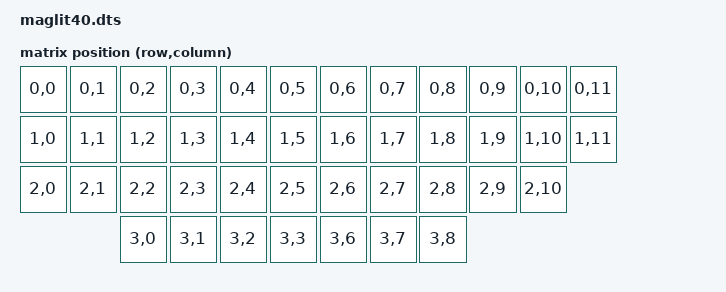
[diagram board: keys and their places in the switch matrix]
#include <dt-bindings/zmk/matrix_transform.h>
#include <dt-bindings/led/led.h>

&pinctrl {
    spi3_default: spi3_default {
        group1 {
            psels = <NRF_PSEL(SPIM_MOSI, 1, 15)>;
        };
    };

    spi3_sleep: spi3_sleep {
        group1 {
            psels = <NRF_PSEL(SPIM_MOSI, 1, 15)>;
            low-power-enable;
        };
    };
};

&spi3 {
    compatible = "nordic,nrf-spim";
    status = "okay";

    pinctrl-0 = <&spi3_default>;
    pinctrl-1 = <&spi3_sleep>;
    pinctrl-names = "default", "sleep";

    led_strip: ws2812@0 {
        compatible = "worldsemi,ws2812-spi";

        /* SPI */
        reg = <0>; /* ignored, but necessary for SPI bindings */
        spi-max-frequency = <4000000>;

        /* WS2812 */
        chain-length = <1>; /* number of LEDs */
        spi-one-frame = <0x70>;
        spi-zero-frame = <0x40>;
        color-mapping = <LED_COLOR_ID_GREEN
                         LED_COLOR_ID_RED
                         LED_COLOR_ID_BLUE>;
    };
};

/ {
  chosen {
    zmk,kscan = &kscan0;
    zmk,matrix-transform = &default_transform;
    zmk,battery = &vbatt;
    zmk,underglow = &led_strip;
  };

  default_transform: keymap_transform_0 {
    compatible = "zmk,matrix-transform";
    columns = <12>;
    rows = <4>;
    map = <
      RC(0,0) RC(0,1) RC(0,2) RC(0,3) RC(0,4) RC(0,5) RC(0,6) RC(0,7) RC(0,8) RC(0,9) RC(0,10) RC(0,11)
      RC(1,0) RC(1,1) RC(1,2) RC(1,3) RC(1,4) RC(1,5) RC(1,6) RC(1,7) RC(1,8) RC(1,9) RC(1,10) RC(1,11) 
      RC(2,0) RC(2,1) RC(2,2) RC(2,3) RC(2,4) RC(2,5) RC(2,6) RC(2,7) RC(2,8) RC(2,9) RC(2,10)  
                      RC(3,0) RC(3,1) RC(3,2) RC(3,3) RC(3,6) RC(3,7) RC(3,8) 
    >;
  };

  kscan0: kscan {
    compatible = "zmk,kscan-gpio-matrix";
    diode-direction = "col2row";
    wakeup-source;
  };

  vbatt: vbatt {
    compatible = "zmk,battery-voltage-divider";
    io-channels = <&adc 7>;
    output-ohms = <510000>;
    full-ohms = <(510000 + 1000000)>;
    power-gpios = <&gpio0 14 (GPIO_OPEN_DRAIN | GPIO_ACTIVE_LOW)>;
  };
};

&gpio0 {
    fastbatcharge: fast-battery-charge {
        gpio-hog;
        gpios = <13 GPIO_ACTIVE_HIGH>;
        output-low;
        line-name = "Fast Battery Charge";
    };
};


